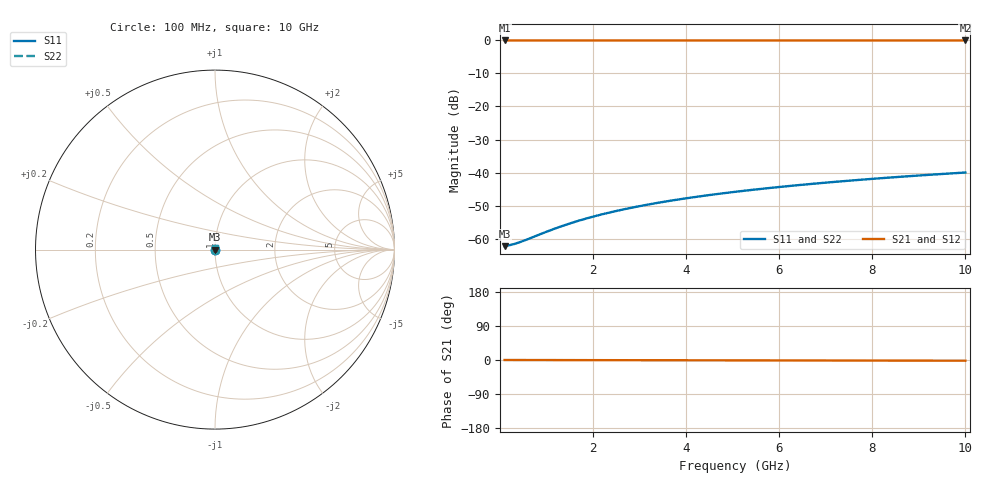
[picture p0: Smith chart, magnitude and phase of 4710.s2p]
# Hz S RI R 50.00
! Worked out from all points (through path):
!   100 points, 100 MHz to 10 GHz, reference 50 ohm
!   highest |S21| = -0.01 dB at 100 MHz (marker M1); lowest = 0.0 dB at 10 GHz (marker M2)
!   lowest |S11| = -62.3 dB at 100 MHz (marker M3), VSWR 1.00, Z = 50.1 + j0.00996 ohm
!   |S11| at or under -10 dB: start of sweep to end of sweep
!   |S22| runs from -62.3 to -40.0 dB; largest |S21 - S12| = 0
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1e8  0.000761 9.95e-05  0.9992 -0.000326  0.9992 -0.000326  0.000761 9.95e-05
2e8  0.000766 0.000199  0.9992 -0.000653  0.9992 -0.000653  0.000766 0.000199
3e8  0.00077 0.000298  0.9992 -0.000979  0.9992 -0.000979  0.00077 0.000298
4e8  0.000773 0.000398  0.9992 -0.00131  0.9992 -0.00131  0.000773 0.000398
6e8  0.000778 0.000597  0.9992 -0.00196  0.9992 -0.00196  0.000778 0.000597
1e9  0.000787 0.000995  0.9992 -0.00326  0.9992 -0.00326  0.000787 0.000995
1.2e9  0.000792 0.00119  0.9992 -0.00392  0.9992 -0.00392  0.000792 0.00119
1.5e9  0.000798 0.00149  0.9992 -0.0049  0.9992 -0.0049  0.000798 0.00149
1.8e9  0.000805 0.00179  0.9992 -0.00588  0.9992 -0.00588  0.000805 0.00179
2.1e9  0.000811 0.00209  0.9992 -0.00686  0.9992 -0.00686  0.000811 0.00209
2.5e9  0.000821 0.00249  0.9992 -0.00816  0.9992 -0.00816  0.000821 0.00249
2.9e9  0.000831 0.00288  0.9991 -0.00947  0.9991 -0.00947  0.000831 0.00288
3.4e9  0.000845 0.00338  0.9991 -0.0111  0.9991 -0.0111  0.000845 0.00338
3.8e9  0.000858 0.00378  0.9991 -0.0124  0.9991 -0.0124  0.000858 0.00378
4.2e9  0.000871 0.00418  0.9991 -0.0137  0.9991 -0.0137  0.000871 0.00418
4.6e9  0.000885 0.00457  0.999 -0.015  0.999 -0.015  0.000885 0.00457
5.1e9  0.000904 0.00507  0.999 -0.0167  0.999 -0.0167  0.000904 0.00507
5.9e9  0.000938 0.00587  0.999 -0.0193  0.999 -0.0193  0.000938 0.00587
6.7e9  0.000976 0.00666  0.9989 -0.0219  0.9989 -0.0219  0.000976 0.00666
7.5e9  0.00102 0.00745  0.9988 -0.0245  0.9988 -0.0245  0.00102 0.00745
8.4e9  0.00107 0.00835  0.9987 -0.0274  0.9987 -0.0274  0.00107 0.00835
1e10  0.00118 0.00994  0.9985 -0.0327  0.9985 -0.0327  0.00118 0.00994
